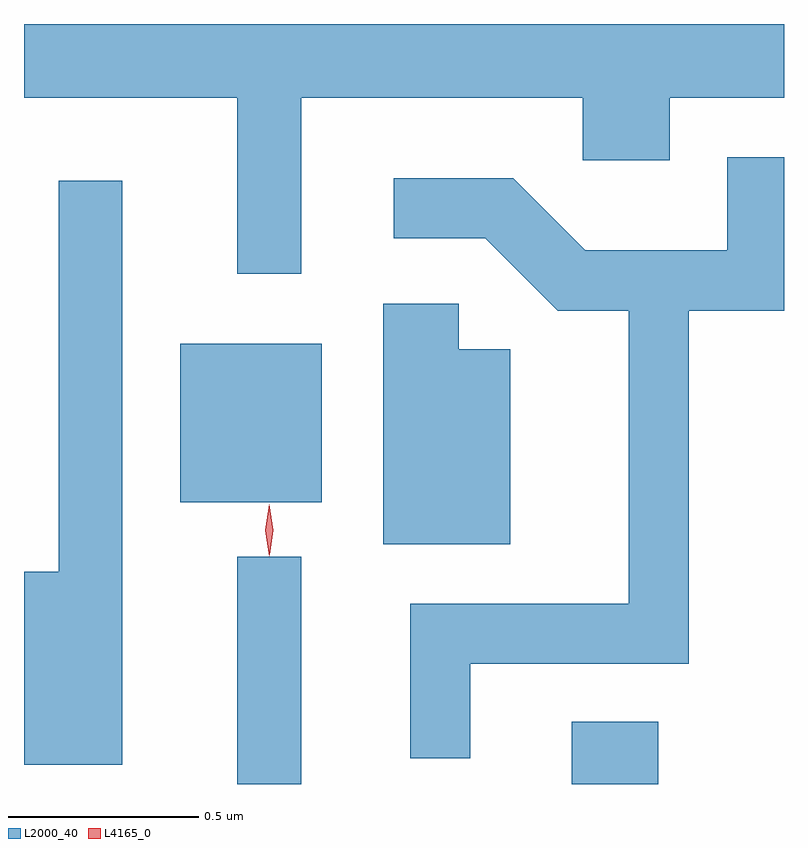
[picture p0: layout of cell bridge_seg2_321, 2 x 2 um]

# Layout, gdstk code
import gdstk
lib = gdstk.Library(unit=1e-6, precision=1e-09)
def R(c, l, rs):  # rectangles x0, y0, x1, y1
    for r in rs: c.add(gdstk.rectangle(r[:2], r[2:], *l))
def P(c, l, *ps):  # polygons
    for p in ps: c.add(gdstk.Polygon(p, *l))
L2000_40 = (2000, 40)
L4165_0 = (4165, 0)

bridge_seg2_321 = lib.new_cell('bridge_seg2_321')
R(bridge_seg2_321, L2000_40, [(453.551,1070.93,453.719,1071.528), (454.431,1070.93,454.659,1071.094), (453.401,1071.671,453.774,1072.089)])
P(bridge_seg2_321, L2000_40, [(453.719,1072.736),(454.461,1072.736),(454.461,1072.571),(454.689,1072.571),(454.689,1072.736),(454.99,1072.736),(454.99,1072.93),(452.99,1072.93),(452.99,1072.736),(453.551,1072.736),(453.551,1072.273),(453.719,1072.273)],
  [(454.164,1071.246),(454.739,1071.246),(454.739,1072.176),(454.99,1072.176),(454.99,1072.579),(454.841,1072.579),(454.841,1072.334),(454.467,1072.334),(454.277,1072.524),(453.963,1072.524),(453.963,1072.366),(454.204,1072.366),(454.394,1072.176),(454.581,1072.176),(454.581,1071.404),(454.006,1071.404),(454.006,1070.998),(454.164,1070.998)],
  [(453.249,1072.518),(453.081,1072.518),(453.081,1071.489),(452.99,1071.489),(452.99,1070.981),(453.249,1070.981)],
  [(454.269,1072.074),(454.134,1072.074),(454.134,1072.194),(453.936,1072.194),(453.936,1071.561),(454.269,1071.561)])
P(bridge_seg2_321, L4165_0, [(453.635,1071.53),(453.625,1071.598),(453.635,1071.666),(453.636,1071.666),(453.636,1071.666),(453.646,1071.598),(453.636,1071.53),(453.636,1071.53)],
  [(453.636,1071.533),(453.636,1071.533),(453.626,1071.597),(453.636,1071.661),(453.636,1071.662),(453.636,1071.661),(453.646,1071.598),(453.637,1071.533)])

lib.write_gds('bridge_seg2_321.gds')
